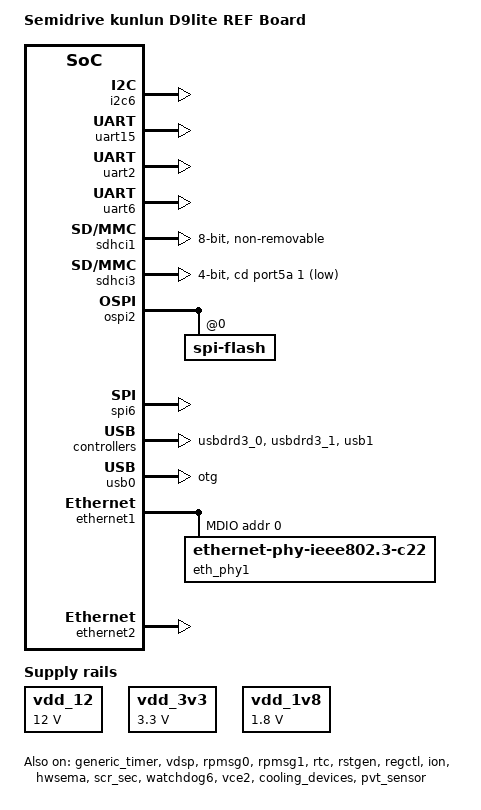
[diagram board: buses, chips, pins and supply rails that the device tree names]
/*
 * Semidrive kunlun platform DTS file
 *
 * Copyright (C) 2019, Semidrive  Communications Inc.
 *
 * This file is licensed under a dual GPLv2 or X11 license.
 */

/dts-v1/;
#include <dt-bindings/input/input.h>
#include <dt-bindings/pinctrl/pins-sdx9.h>
#include <dt-bindings/memmap/d9lite/projects/default/image_cfg.h>
#include <dt-bindings/memory/sdrv_ion.h>
#include <dt-bindings/rpmsg/sd,d9lite-default.h>
#include "d9-lite.dtsi"

/ {
	model = "Semidrive kunlun D9lite REF Board";

	compatible = "semidrive,kunlun";

	aliases {
		serial0 = &uart15;
		serial1 = &uart1;
		serial2 = &uart2;
		//serial3 = &uart3;//safety debug uart
		serial4 = &uart4;
		serial5 = &uart5;
		serial6 = &uart6;
		serial7 = &uart7; /* no use */
		serial8 = &uart8; /* no use */
		serial9 = &uart9;
		//serial10 = &uart10;//sec ssystem debug uart
		serial11 = &uart11;
		serial12 = &uart12;
		serial13 = &uart13;
		serial14 = &uart14;
		//serial15 = &uart15;//linux debug uart
		serial16 = &uart16;
		ethernet1 = &ethernet1;
		ethernet2 = &ethernet2;
	};

	memory@50000000 {
		device_type = "memory";
		reg = <HIGH32(AP2_REE_MEMBASE) LOW32(AP2_REE_MEMBASE) \
			   HIGH32(AP2_REE_MEMSIZE) LOW32(AP2_REE_MEMSIZE) \
			   HIGH32(AP2_2ND_MEMBASE) LOW32(AP2_2ND_MEMBASE) \
			   HIGH32(AP2_2ND_MEMSIZE) LOW32(AP2_2ND_MEMSIZE) \
			   0x0 (VDSP_MEMBASE + 0x4000) \
			   0x0 (VDSP_SHARE_MEMSIZE + VDSP_MEMSIZE - 0x4000)>;
	};

	reserved-memory {
		#address-cells = <2>;
		#size-cells = <2>;
		ranges;

		ramoops {
			compatible = "ramoops";
			reg = <HIGH32(AP2_BOARD_RAMDISK_MEMBASE + AP2_BOARD_RAMDISK_MEMSIZE + 0x1000000)
				LOW32(AP2_BOARD_RAMDISK_MEMBASE + AP2_BOARD_RAMDISK_MEMSIZE + 0x1000000) 0x0 0x100000>;
			record-size = <0x60000>;
			console-size = <0x40000>;
			ftrace-size = <0x20000>;
			pmsg-size = <0x40000>;
		};

		/* Default Common CMA Pool */
		/* QUIRK: Must be kept in the lower 4096 MiBs of DRAM banks for VE */
		linux,cma {
			compatible = "shared-dma-pool";
			reusable;
			size = <0x0 0x40000000>; /* 1024MB */
			/* 4GB maximum in case of 32-bit only capable devices */
			alloc-ranges = <0x0 0x0 0x0 0xffffffff>;
			linux,cma-default;
		};

		rproc_0_safety: rproc@0 {
			compatible = "shared-dma-pool";
			no-map;
			reg = <0x0 RPMSG0_MEM_POOL_BASE 0x0 RPMSG0_MEM_POOL_SIZE>;
		};

		rproc_1_secure: rproc@1 {
			compatible = "shared-dma-pool";
			no-map;
			reg = <0x0 RPMSG1_MEM_POOL_BASE 0x0 RPMSG1_MEM_POOL_SIZE>;
		};

		xrp_reserved: xrp@0 {
			compatible = "shared-dma-pool";
			status = "okay";
			no-map;
			reg = <0x0 VDSP_SHARE_MEMBASE 0x0 0x4000>;
		};

		xrp_shared: xrp,shmem {
			reg = <0x0 (VDSP_SHARE_MEMBASE+0x4000) 0x0 (VDSP_SHARE_MEMSIZE-0x4000)>;
		};

	};

	chosen {
		bootargs = "skip_initramfs noinitrd root=/dev/mmcblk0p4 rootfstype=ext4 rootwait rw init=/sbin/init highres=1 earlycon loglevel=4 nr_uarts=16 console=ttyS0,115200n8 fbcon=map:1 androidboot.mode=normal androidboot.selinux=permissive androidboot.debuggable=1 androidboot.dm_verity=disable psplash=false";
		stdout-path = "serial0";
	};

	vdd_12: fixed-vdd_12 {
		compatible = "regulator-fixed";
		regulator-name = "vdd_12v";
		regulator-min-microvolt = <12000000>;
		regulator-max-microvolt = <12000000>;
	};

	vdd_3v3: fixed-vdd_3v3 {
		compatible = "regulator-fixed";
		regulator-name = "vdd_3v3";
		regulator-min-microvolt = <3300000>;
		regulator-max-microvolt = <3300000>;
	};

	vdd_1v8: fixed-vdd_1v8 {
		compatible = "regulator-fixed";
		regulator-name = "vdd_1v8";
		regulator-min-microvolt = <1800000>;
		regulator-max-microvolt = <1800000>;
	};

	es7134: codec@es7134 {
		compatible = "everest,es7134";
		status = "disabled";
	};

	sound_es7243e: sound@es7243e {
		compatible = "semidrive,d9-ref-es7243e";
		semidrive,audio-codec = <&es7243e>;
		status = "disabled";
	};

	sound_es7144: sound@es7144 {
		compatible = "semidrive,d9-ref-es7144";
		semidrive,audio-codec = <&es7134>;
		semidrive,jack-gpio = <&port4b 29 GPIO_ACTIVE_HIGH>;
		status = "disabled";
	};

	leds {
		compatible = "gpio-leds";
		status = "disabled";
		led0: heartbeat {
			label = "heartbeat";
			gpios = <&port5a 4 GPIO_ACTIVE_LOW> ;//sch-part-D6<->gpio_a4
			default-state = "on";
			linux,default-trigger = "heartbeat";
		};
	};

	gpio-keys {
		status = "disabled";
		compatible = "gpio-keys";
		autorepeat;
		up {
			label = "GPIO Key POWER";
			linux,code = <KEY_POWER>;//KEY_POWER
			gpios = <&port5d 28 GPIO_ACTIVE_LOW> ;//sch-part-J8<->gpio_H2 io124 Y7
		};
	};

	adc-keys0 {
		status = "disabled";
		compatible = "adc-keys";
		io-channels = <&adc_ap 1>;
		io-channel-names = "buttons";
		keyup-threshold-microvolt = <30500000>;
		poll-interval = <100>;

		button-up {
			label = "Volume Up";
			linux,code = <KEY_VOLUMEUP>;
			press-threshold-microvolt = <28800000>;
		};

	};

	adc-keys1 {
		status = "disabled";
		compatible = "adc-keys";
		io-channels = <&adc_ap 2>;
		io-channel-names = "buttons";
		keyup-threshold-microvolt = <59400000>;
		poll-interval = <100>;

		button-down {
			label = "Volume Down";
			linux,code = <KEY_VOLUMEDOWN>;
			press-threshold-microvolt = <57600000>;
		};

	};

	adc-keys2 {
		status = "disabled";
		compatible = "adc-keys";
		io-channels = <&adc_ap 3>;
		io-channel-names = "buttons";
		keyup-threshold-microvolt = <88000000>;
		poll-interval = <100>;

		button-enter {
			label = "Enter";
			linux,code = <KEY_ENTER>;
			press-threshold-microvolt = <86400000>;
		};
	};

	semidrive_bl0: panel0-backlight {
		compatible = "sd,rpmsg-bl"; /*"sd,rpmsg-bl" for rpmsg; "pwm-backlight" for native*/
		bl_screen-id = /bits/ 32 <1>;
		//pwms = <&pwm4 PWM_CH0 PWM_FREQUENCY PWM_POLARITY_INVERSED>;
		brightness-levels = <0 1 2 3 4 5 6 7 8 9 10 11 12 13 14 15 16
							 17 18 19 20 21 22 23 24 25 26 27 28 29 30
							 31 32 33 34 35 36 37 38 39 40 41 42 43 44
							 45 46 47 48 49 50 51 52 53 54 55 56 57 58
							 59 60 61 62 63 64 65 66 67 68 69 70 71 72
							 73 74 75 76 77 78 79 80 81 82 83 84 85 86
							 87 88 89 90 91 92 93 94 95 96 97 98 99 100>;
		default-brightness-level = <70>;
		status = "disabled";
	};

};

&dmac4 {
	status = "okay";
};
&dmac5 {
	status = "okay";
};
&dmac6 {
	status = "okay";
};

&afe_i2s_sc2{
//sch part u19(codec dac es7144)
	dmas = <&dmac4 X9_DMA_SLV_ID_I2S_SC3_TX>, <&dmac4 X9_DMA_SLV_ID_I2S_SC3_RX>;
	dma-names = "tx", "rx";
	status = "disabled";
};

&afe_i2s_sc3{
//sch part u20(codec adc es7243)
	dmas = <&dmac4 X9_DMA_SLV_ID_I2S_SC4_TX>, <&dmac4 X9_DMA_SLV_ID_I2S_SC4_RX>;
	dma-names = "tx", "rx";
	semidrive,full-duplex = <0>;
	status = "disabled";
};

&afe_i2s_sc5{
	dmas = <&dmac4 X9_DMA_SLV_ID_I2S_SC6_TX>, <&dmac4 X9_DMA_SLV_ID_I2S_SC6_RX>;
	dma-names = "tx", "rx";
	status = "disabled";
};

&afe_i2s_sc7{
	dmas = <&dmac4 X9_DMA_SLV_ID_I2S_SC8_TX>, <&dmac4 X9_DMA_SLV_ID_I2S_SC8_RX>;
	dma-names = "tx", "rx";
	status = "disabled";
};


&i2c2 {
	status = "disabled";
};

&i2c3 {
//sch part U22(pvt sgm452t)
	status = "disabled";
	dtt@4f {
		compatible = "sgmicro,sgm452";
		reg = <0x4f>;
	};

	rx8025t: rx8025t@32 {
		compatible = "epson,rx8025";
		reg = <0x32>;
	};
};
&i2c4 {
	status = "disabled";
	ksz9896c:ksz9896c@5f {
		compatible = "switch,ksz9896c";
		ksz9896c,reset-gpio = <&port5b 24 GPIO_ACTIVE_LOW>;
		ksz9896c,pwdn-gpio =  <&port5b 28 GPIO_ACTIVE_LOW>;
		//gpios = <&port5d 28 GPIO_ACTIVE_LOW> ;//sch-part-J8<->gpio_H2 io124 Y7

		reg = <0x5f>;
	};
};

&i2c5 {
	status = "disabled";
	es7243e: codec@10 {
		compatible = "MicArray_0";
		reg = <0x10>;
	};
};

&i2c6 {
//sch part U5(tp2850)
	status = "okay";
};

&i2c7 {
	status = "disabled";
};

&i2c8 {
//sch part U3(N4)
	status = "disabled";
};

&i2c9 {
	status = "disabled";

};

&i2c10 {
//sch part U7(LT9611)
	status = "disabled";


};

&i2c11 {
//sch part cn4(lvd tp)
	status = "disabled";
};


&uart15 {
//linux debug
	dmas = <&dmac4 X9_DMA_SLV_ID_UART15_TX>, <&dmac4 X9_DMA_SLV_ID_UART15_RX>;
	dma-names = "tx", "rx";
	status = "okay";
};

&uart1 {
//xm1 --need flip
	status = "disabled";
};

&uart2 {
//rs485
//sch part u28 sit3485
	snps,dma-not-used;
	snps,config-as-485-function;
	snps,485_re_polarity_val = <0>;
	snps,485_de_polarity_val = <1>;

	/*  0: full duplex
	 *  1: software half duplex
	 *  2: hardware half duplex
	 */
	snps,485_xfer_mode = <0>; /* sit3485 support full duplex only */
	snps,485_de_assert_time = <0x32>;
	snps,485_de_deassert_time = <0xf>;
	snps,485_de2re_turn_around_time = <0x51>;
	snps,485_re2de_turn_around_time = <0x38>;
	status = "okay";
};

//&uart3 {
//saf debug uart,we not use for ever
//	status = "disabled";
//};

&uart4 {
	status = "disabled";
};

&uart5 {
	status = "disabled";
};

&uart6 {
//rs232
//sch part u29 sit3232
	snps,dma-not-used;
	status = "okay";
};

&uart9 {
//sch part xm1 --need flip
	status = "disabled";
};

&uart10 {
//sec debug
	status = "disabled";
};

&uart11 {
	status = "disabled";
};

&uart12 {
//sch part xm7 --need flip
	status = "disabled";
};

&uart13 {
//sch part xm5 --need flip
	status = "disabled";
};

&uart14 {
//sch part xm6 --need flip
	status = "disabled";
};


&uart16 {
//sch part xm8 --need flip
	status = "disabled";
};

&generic_timer {
	status = "okay";
};

&adc_ap {
	resolution_value = <0x03>; /*ADC_6_BITS_E0 = 0x00 , ADC_8_BITS_E1 = 0x01 , ADC_10_BITS_E2 = 0x02 , ADC_12_BITS_E3 = 0x03*/
	clksrc_sel = <0x00>; /*ADC_SRC_CLK_ALT_E0 = 0x00 , ADC_SRC_CLK_PCLK_E1 = 0x01 , ADC_SRC_CLK_EXT_E2 = 0x02*/
	clk_value = <24000000>;
	use-adc-fifo;
	vref-supply = <&vdd_1v8>;
	status = "disabled";
};

&vpu2 {
	resets = <&rstgen RSTGEN_MODULE_VPU2>;
	reset-names = "vpu-reset";
	status = "disabled";
};

&gpu1 {
	status = "disabled";
};

&clk_gpu2 {
	status = "disabled";
};
&vdsp {
	reg = <0x0 VDSP_SHARE_MEMBASE 0x0 0x1000>, /* DSP command queue */
	      <0x0 (VDSP_SHARE_MEMBASE+0x4000) 0x0 (VDSP_SHARE_MEMSIZE-0x4000)>, /* DSP shared memory */
	      <0x0 0x34040000 0x0 0x1000>, /* vdsp mu base address, pass to vdsp, won't map */
	      <0x0 0x38316000 0x0 0x1000>, /* scr 0x458 */
	      <0x0 0x3839e000 0x0 0x1000>, /* scr 0x678 */
	      <0x0 0x38401000 0x0 0x2000>, /* rstgen core 0 */
	      <0x0 0x38466000 0x0 0x1000>; /* rstgen module 38 */
	firmware-name = "xtensa.elf";
	firmware-entry = <VDSP_MEMBASE>;
	/*data ram0, data ram1, system ram, shared ram*/
	ranges = <0x0 0x00a00000 0x0 0x00a00000 0x0 0x00020000
		  0x0 0x00a20000 0x0 0x00a20000 0x0 0x00020000
		  0x0 VDSP_MEMBASE 0x0 VDSP_MEMBASE 0x0 VDSP_MEMSIZE
		  0x0 LOW32(AP2_KERNEL_MEMBASE-0x80000) 0x0 LOW32(AP2_KERNEL_MEMBASE-0x80000) 0x0 LOW32(0x100000000-AP2_KERNEL_MEMBASE+0x80000)
		  0x0 VDSP_SHARE_MEMBASE 0x0 VDSP_SHARE_MEMBASE 0x0 VDSP_SHARE_MEMSIZE>;
	status = "okay";
};


&pinctrl {
	reg = <0x0 0x37000000 0x0 0x10000>;
	pinctrl-names = "default";

	sdx9-evk {
		pinctrl_mshc1: mshc1grp {
		kunlun,pins = <
			X9_PINCTRL_EMMC1_CLK__MSHC1_CLK_1 		X9_PINCTRL_OPEN_DRAIN_DISABLE
			X9_PINCTRL_EMMC1_CMD__MSHC1_CMD_1		X9_PINCTRL_OPEN_DRAIN_DISABLE
			X9_PINCTRL_EMMC1_DATA0__MSHC1_DATA_0_1	X9_PINCTRL_OPEN_DRAIN_DISABLE
			X9_PINCTRL_EMMC1_DATA1__MSHC1_DATA_1_1	X9_PINCTRL_OPEN_DRAIN_DISABLE
			X9_PINCTRL_EMMC1_DATA2__MSHC1_DATA_2_1	X9_PINCTRL_OPEN_DRAIN_DISABLE
			X9_PINCTRL_EMMC1_DATA3__MSHC1_DATA_3_1	X9_PINCTRL_OPEN_DRAIN_DISABLE
			X9_PINCTRL_EMMC1_DATA4__MSHC1_DATA_4_1	X9_PINCTRL_OPEN_DRAIN_DISABLE
			X9_PINCTRL_EMMC1_DATA5__MSHC1_DATA_5_1	X9_PINCTRL_OPEN_DRAIN_DISABLE
			X9_PINCTRL_EMMC1_DATA6__MSHC1_DATA_6_1	X9_PINCTRL_OPEN_DRAIN_DISABLE
			X9_PINCTRL_EMMC1_DATA7__MSHC1_DATA_7_1	X9_PINCTRL_OPEN_DRAIN_DISABLE
			X9_PINCTRL_EMMC1_STROBE__MSHC1_STB_1		X9_PINCTRL_OPEN_DRAIN_ENABLE
			X9_PINCTRL_EMMC1_RESET_N__MSHC1_RST_N_1	X9_PINCTRL_OPEN_DRAIN_DISABLE
			>;
		};

		pinctrl_gpiotouch_lvds: touchgrp_lvds {
		kunlun,pins = <
			X9_PINCTRL_I2S_MC_SD4__GPIO_MUX2_IO80_1          0x00
			X9_PINCTRL_I2S_MC_SD5__GPIO_MUX2_IO81_1          0x00
			X9_PINCTRL_I2S_MC_SD6__GPIO_MUX2_IO82_1          0x00
			X9_PINCTRL_I2S_MC_SD7__GPIO_MUX2_IO83_1          0x00
			>;
		};
		pinctrl_gpiotouch_mipi: touchgrp_mipi {
			kunlun,pins = <
			X9_PINCTRL_EMMC2_CLK__GPIO_MUX2_IO96_1          0x00
			X9_PINCTRL_EMMC2_CMD__GPIO_MUX2_IO97_1          0x00
			>;
		};
	};
};

&gpio5 {
	//pinctrl-names = "default";
	//pinctrl-0 = <&pinctrl_gpiotouch_lvds &pinctrl_gpiotouch_mipi>;
	status = "okay";
};
&sdhci1 {
	bus-width = <8>;
	non-removable;
	no-sdio;
	no-sd;
	card-is-emmc;
	disable-wp;
	cap-mmc-highspeed;
	keep-power-in-suspend;
	mmc-ddr-1_8v;
	mmc-hs200-1_8v;
	mmc-hs400-1_8v;
	card_id = <1>;
	status = "okay";
};

&sdhci3 {
	#clock-cells = <1>;
	clocks = <&EMMC3>;
	clock-names = "core";
	max-frequency = <100000000>;
	cd-gpios = <&port5a 1 GPIO_ACTIVE_LOW>;//sch-part-D6<->gpio_a1 io1 Y19
	pwr-gpios = <&port5b 25 GPIO_ACTIVE_HIGH>;//gpio_c9
	bus-width = <4>;
	no-mmc;
	no-sdio;
	disable-wp;
	keep-power-in-suspend;
	cap-sd-highspeed;
	sd-uhs-sdr104;
	card_id = <3>;
	status = "okay";
};

&ospi1 {
	status = "disabled";
	clocks = <&OSPI1>;
	clock-names = "core";
	spi-flash@0 {
		cdns,tshsl-ns = <50>;
		cdns,tsd2d-ns = <50>;
		page-size = <256>;
		block-size = <12>;
		status = "disabled";
	};
};

&ospi2 {
	status = "okay";
	clocks = <&OSPI2>;
	clock-names = "core";
	spi-flash@0 {
		cdns,tshsl-ns = <50>;
		cdns,tsd2d-ns = <50>;
		page-size = <256>;
		block-size = <12>;
		status = "okay";
	};
	spi-nand@0 {
		cdns,tshsl-ns = <50>;
		cdns,tsd2d-ns = <50>;
		page-size = <256>;
		block-size = <12>;
		status = "disabled";
	};
};

&spi2 {
//this belong to safety domain, not handover now.
	status = "disabled";
};

&spi5 {
	status = "disabled";
};

&spi6 {
//sch core part U1502(IS62WVS5128GBL)
	status = "okay";
};

&spi7 {
	status = "disabled";
};

&mbox {
	status = "okay";
};

&vdsp_ipc {
	status = "okay";
};

&mbox_test {
	status = "okay";
};

&rpmsg0 {
	memory-region = <&rproc_0_safety>;
	reg = <0x0 RPMSG0_MEM_HEAD_BASE 0x0 RPMSG0_MEM_HEAD_SIZE>;
	mboxes = <&mbox 0x16 0x1600>;//for saf<->ap2
	status = "okay";
};

&rpmsg1 {
	memory-region = <&rproc_1_secure>;
	reg = <0x0 RPMSG1_MEM_HEAD_BASE 0x0 RPMSG1_MEM_HEAD_SIZE>;
	mboxes = <&mbox 0x17 0x1701>;//for sec<->ap2
	status = "okay";
};

&ipcc0 {
	mboxes = <&mbox 0x36 0x3600>;//for saf<->ap2
	status = "okay";
};

&ipcc1 {
	mboxes = <&mbox 0x37 0x3701>;//for sec<->ap2
	status = "okay";
};

&rtc {
	status = "okay";
};

&usbdrd3_0 {
	status = "okay";
};

&usb3_id0 {
	id-gpios = <&port5e 3 GPIO_ACTIVE_LOW>;
};

&usb0 {
	dr_mode = "otg";
	status = "okay";
};

&usbdrd3_1 {
	status = "okay";
};

&usb1 {
	status = "okay";
};

&ethernet1 {
	snps,max_dma_cap_quirk = <32>;
	status = "okay";
	mdio1: mdio@1 {
		compatible = "snps,dwmac-mdio";
		#address-cells = <1>;
		#size-cells = <0>;
		reset-gpios = <&port5a 27 GPIO_ACTIVE_LOW> ;//ospidata1 io27 ae24
		eth_phy1: ethernet-phy@1 {
			compatible = "ethernet-phy-ieee802.3-c22";
			reg = <0>;
		};
	};
};

&ethernet2 {
	status = "okay";
};

&rstgen {
	reg = <0x0 0x38467000 0x0 0x1000>,	/* vpu1 */
		<0x0 0x38468000 0x0 0x1000>,	/* vpu2 */
		<0x0 0x38462000 0x0 0x1000>,	/* GIC 5 */
		<0x0 0x38464000 0x0 0x1000>,	/* cssys treset n */
		<0x0 0x3846e000 0x0 0x1000>,	/* cpu2 ss */
		<0x0 0x38499000 0x0 0x1000>,	/* dbg reg */
		<0x0 0x38409000 0x0 0x2000>;	/* cpu2 core */
	rstgen_resource = <
		RSTGEN_MODULE_VPU1
		RSTGEN_MODULE_VPU2
		RSTGEN_MODULE_GIC5
		RSTGEN_MODULE_CSSYS_TRESET_N
		RSTGEN_MODULE_CPU2_SS
		RSTGEN_MODULE_DBG_REG
		RSTGEN_CORE_CPU2
		>;
	status = "okay";
};

&regctl {
	reg = <0x0 0x38415000 0x0 0x1000>,
		<0x0 0x38418000 0x0 0x1000>,
		<0x0 0x38419000 0x0 0x1000>,
		<0x0 0x3841a000 0x0 0x1000>;
	reg-names = "SDRV_REG_REMAP",
			"SDRV_REG_BOOTREASON",
			"SDRV_REG_HWID",
			"SDRV_REG_STATUS";
	status = "okay";
};

&ion {
	status = "okay";
};

&hwsema {
	status = "okay";
};

&scr_sec {
	status = "okay";
};

&watchdog6 {
	wdt,auto-run = "false";
	status = "okay";
};

&pcie1 {
	status = "disabled";
};

&vce2 {
	/*
	 * op-mode options:
	 * bit 0: rng enable(1) or disable(0)
	 * bit 1: ce enable(1) or disable(0)
	 */
	op-mode = <3>;
	status = "okay";
};

&cooling_devices {
	status = "okay";
};

&pvt_sensor {
	status = "okay";
};
